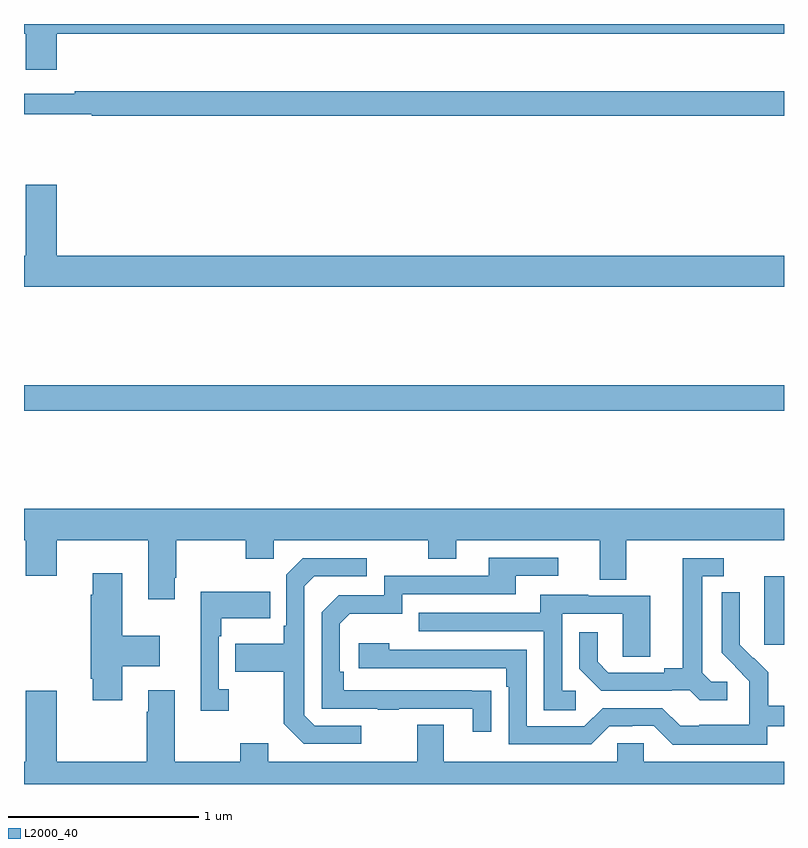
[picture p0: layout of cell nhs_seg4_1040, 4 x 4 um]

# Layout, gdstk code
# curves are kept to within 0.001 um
import gdstk
lib = gdstk.Library(unit=1e-6, precision=1e-09)
def R(c, l, rs):  # rectangles x0, y0, x1, y1
    for r in rs: c.add(gdstk.rectangle(r[:2], r[2:], *l))
def P(c, l, *ps):  # polygons
    for p in ps: c.add(gdstk.Polygon(p, *l))
L2000_40 = (2000, 40)

nhs_seg4_1040 = lib.new_cell('nhs_seg4_1040')
R(nhs_seg4_1040, L2000_40, [(168.896,765.633,169,765.994), (165,766.864,169,767)])
P(nhs_seg4_1040, L2000_40, [(165.172,768.848),(169,768.848),(169,768.9),(165,768.9),(165,768.848),(165.008,768.848),(165.008,768.66),(165.172,768.66)],
  [(169,768.547),(165.268,768.547),(165.268,768.534),(165,768.534),(165,768.426),(165.356,768.426),(165.356,768.418),(169,768.418)],
  [(169,767.68),(165.172,767.68),(165.172,768.055),(165.008,768.055),(165.008,767.68),(165,767.68),(165,767.516),(169,767.516)],
  [(165.793,765.985),(165.801,765.985),(165.801,766.184),(166.168,766.184),(166.168,766.085),(166.314,766.085),(166.314,766.184),(167.128,766.184),(167.128,766.085),(167.275,766.085),(167.275,766.184),(168.029,766.184),(168.029,765.976),(168.169,765.976),(168.169,766.184),(169,766.184),(169,766.348),(165,766.348),(165,766.184),(165.008,766.184),(165.008,765.996),(165.172,765.996),(165.172,766.184),(165.653,766.184),(165.653,765.873),(165.793,765.873)],
  [(167.459,765.392),(166.682,765.393),(166.682,765.49),(166.662,765.49),(166.662,765.744),(166.715,765.797),(166.992,765.797),(166.992,765.9),(167.587,765.9),(167.587,765.996),(167.812,765.996),(167.812,766.092),(167.447,766.092),(167.447,765.996),(166.896,765.996),(166.896,765.894),(166.656,765.894),(166.566,765.804),(166.566,765.297),(166.861,765.297),(166.861,765.292),(166.973,765.292),(166.973,765.297),(167.363,765.297),(167.363,765.174),(167.459,765.174)],
  [(168.7,765.438),(168.618,765.438),(168.571,765.485),(168.571,765.993),(168.682,765.993),(168.682,766.089),(168.467,766.089),(168.467,765.509),(168.371,765.509),(168.371,765.486),(168.076,765.486),(168.019,765.543),(168.019,765.7),(167.922,765.7),(167.922,765.506),(168.038,765.39),(168.41,765.39),(168.41,765.393),(168.504,765.393),(168.556,765.341),(168.7,765.341)],
  [(166.774,765.207),(166.53,765.207),(166.476,765.261),(166.476,765.942),(166.527,765.993),(166.804,765.993),(166.804,766.089),(166.467,766.089),(166.38,766.002),(166.38,765.733),(166.368,765.733),(166.368,765.637),(166.111,765.637),(166.111,765.49),(166.368,765.49),(166.368,765.217),(166.473,765.111),(166.774,765.111)],
  [(165.517,765.521),(165.715,765.521),(165.715,765.679),(165.517,765.679),(165.517,766.009),(165.362,766.009),(165.362,765.896),(165.35,765.896),(165.35,765.454),(165.362,765.454),(165.362,765.342),(165.517,765.342)],
  [(166.078,765.398),(166.026,765.398),(166.026,765.677),(166.039,765.677),(166.039,765.773),(166.295,765.773),(166.295,765.913),(165.929,765.913),(165.929,765.285),(166.078,765.285)],
  [(168.912,765.204),(169,765.204),(169,765.313),(168.917,765.313),(168.917,765.487),(168.84,765.564),(168.837,765.561),(168.767,765.632),(168.768,765.908),(168.672,765.908),(168.672,765.59),(168.818,765.442),(168.818,765.345),(168.816,765.345),(168.816,765.211),(168.553,765.211),(168.553,765.207),(168.453,765.207),(168.36,765.3),(168.045,765.3),(167.949,765.204),(167.646,765.204),(167.646,765.606),(166.922,765.606),(166.922,765.64),(166.761,765.64),(166.761,765.51),(167.537,765.51),(167.537,765.413),(167.55,765.413),(167.55,765.108),(167.985,765.108),(168.081,765.204),(168.2,765.204),(168.2,765.207),(168.315,765.207),(168.415,765.107),(168.912,765.107)],
  [(167.905,765.39),(167.832,765.39),(167.832,765.795),(168.15,765.795),(168.15,765.571),(168.295,765.571),(168.295,765.891),(167.971,765.891),(167.971,765.895),(167.717,765.895),(167.717,765.801),(167.077,765.801),(167.077,765.705),(167.736,765.705),(167.736,765.289),(167.905,765.289)],
  [(169,765.016),(168.261,765.016),(168.261,765.114),(168.123,765.114),(168.123,765.016),(167.209,765.016),(167.209,765.211),(167.069,765.211),(167.069,765.016),(166.285,765.016),(166.285,765.115),(166.138,765.115),(166.138,765.016),(165.793,765.016),(165.793,765.394),(165.653,765.394),(165.653,765.281),(165.646,765.281),(165.646,765.016),(165.172,765.016),(165.172,765.391),(165.008,765.391),(165.008,765.016),(165,765.016),(165,764.9),(169,764.9)])

lib.write_gds('nhs_seg4_1040.gds')
